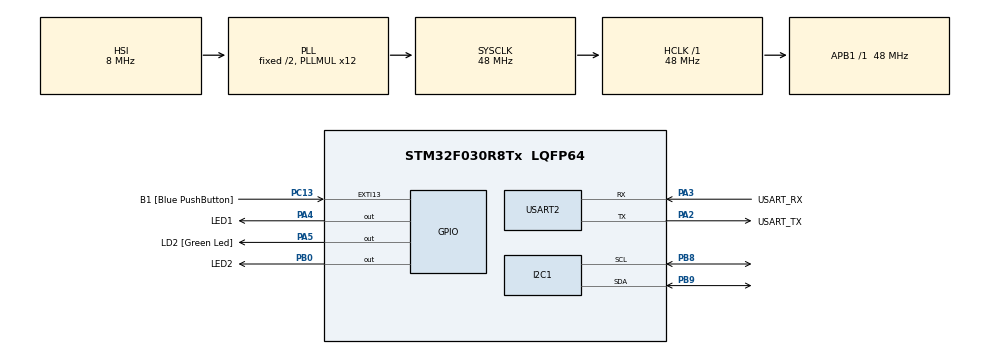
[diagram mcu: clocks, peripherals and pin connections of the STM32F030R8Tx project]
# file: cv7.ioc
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Dma.Request0=USART2_RX
Dma.USART2_RX.0.Direction=DMA_PERIPH_TO_MEMORY
Dma.USART2_RX.0.Instance=DMA1_Channel5
Dma.USART2_RX.0.MemDataAlignment=DMA_MDATAALIGN_BYTE
Dma.USART2_RX.0.MemInc=DMA_MINC_ENABLE
Dma.USART2_RX.0.Mode=DMA_CIRCULAR
Dma.USART2_RX.0.PeriphDataAlignment=DMA_PDATAALIGN_BYTE
Dma.USART2_RX.0.PeriphInc=DMA_PINC_DISABLE
Dma.USART2_RX.0.Priority=DMA_PRIORITY_LOW
FREERTOS.Queues01=xVisualQueue,16,int16_t,0,Dynamic,NULL,NULL
FREERTOS.Tasks01=defaultTask,0,128,StartDefaultTask,Default,NULL,Dynamic,NULL,NULL;VisualTask,0,128,StartVisualTask,Default,NULL,Dynamic,NULL,NULL;AcceleroTask,0,128,StartAcceleroTask,Default,NULL,Dynamic,NULL,NULL
FREERTOS.configUSE_NEWLIB_REENTRANT=1
Mcu.Family=STM32F0
Mcu.Name=STM32F030R8Tx
Mcu.Package=LQFP64
NVIC.DMA1_Channel4_5_IRQn=true\:3\:0\:false\:false\:true\:true\:false\:true\:true
NVIC.TIM14_IRQn=true\:3\:0\:false\:false\:true\:false\:false\:true\:true
NVIC.TimeBase=TIM14_IRQn
NVIC.TimeBaseIP=TIM14
PA13.GPIO_Label=TMS
PA13.Mode=Serial_Wire
PA13.Signal=SYS_SWDIO
PA14.GPIO_Label=TCK
PA14.Mode=Serial_Wire
PA14.Signal=SYS_SWCLK
PA2.GPIO_Label=USART_TX
PA2.GPIO_Mode=GPIO_MODE_AF_PP
PA2.GPIO_PuPd=GPIO_NOPULL
PA2.GPIO_Speed=GPIO_SPEED_FREQ_LOW
PA2.Mode=Asynchronous
PA2.Signal=USART2_TX
PA3.GPIO_Label=USART_RX
PA3.GPIO_Mode=GPIO_MODE_AF_PP
PA3.GPIO_PuPd=GPIO_NOPULL
PA3.GPIO_Speed=GPIO_SPEED_FREQ_LOW
PA3.Mode=Asynchronous
PA3.Signal=USART2_RX
PA4.GPIO_Label=LED1
PA4.Signal=GPIO_Output
PA5.GPIO_Label=LD2 [Green Led]
PA5.GPIO_Mode=GPIO_MODE_OUTPUT_PP
PA5.GPIO_PuPd=GPIO_NOPULL
PA5.GPIO_Speed=GPIO_SPEED_FREQ_LOW
PA5.Signal=GPIO_Output
PB0.GPIO_Label=LED2
PB0.Signal=GPIO_Output
PB8.Mode=I2C
PB8.Signal=I2C1_SCL
PB9.Mode=I2C
PB9.Signal=I2C1_SDA
PC13.GPIO_Label=B1 [Blue PushButton]
PC13.GPIO_ModeDefaultEXTI=GPIO_MODE_IT_FALLING
PC13.Signal=GPXTI13
PC14-OSC32_IN.Mode=LSE-External-Oscillator
PC14-OSC32_IN.Signal=RCC_OSC32_IN
PC15-OSC32_OUT.Mode=LSE-External-Oscillator
PC15-OSC32_OUT.Signal=RCC_OSC32_OUT
PF0-OSC_IN.Mode=HSE-External-Clock-Source
PF0-OSC_IN.Signal=RCC_OSC_IN
PF1-OSC_OUT.Signal=RCC_OSC_OUT
ProjectManager.HeapSize=0x200
ProjectManager.StackSize=0x400
ProjectManager.TargetToolchain=STM32CubeIDE
RCC.AHBFreq_Value=48000000
RCC.APB1Freq_Value=48000000
RCC.APB1TimFreq_Value=48000000
RCC.HCLKFreq_Value=48000000
RCC.PLLMUL=RCC_PLL_MUL12
RCC.SYSCLKFreq_VALUE=48000000
RCC.SYSCLKSource=RCC_SYSCLKSOURCE_PLLCLK
USART2.VirtualMode-Asynchronous=VM_ASYNC
VP_FREERTOS_VS_CMSIS_V1.Mode=CMSIS_V1
VP_SYS_VS_tim14.Mode=TIM14
board=NUCLEO-F030R8

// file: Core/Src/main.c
/* USER CODE BEGIN Header */
/**
  ******************************************************************************
  * @file           : main.c
  * @brief          : Main program body
  ******************************************************************************
  * @attention
  *
  * Copyright (c) 2023 STMicroelectronics.
  * All rights reserved.
  *
  * This software is licensed under terms that can be found in the LICENSE file
  * in the root directory of this software component.
  * If no LICENSE file comes with this software, it is provided AS-IS.
  *
  ******************************************************************************
  */
/* USER CODE END Header */
#include "main.h"
#include "cmsis_os.h"

/* USER CODE BEGIN Includes */
#include "lis2dw12_reg.h"
#include <stdio.h>
/* USER CODE END Includes */

I2C_HandleTypeDef hi2c1;

UART_HandleTypeDef huart2;
DMA_HandleTypeDef hdma_usart2_rx;

osThreadId defaultTaskHandle;
osThreadId VisualTaskHandle;
osThreadId AcceleroTaskHandle;
osMessageQId xVisualQueueHandle;

void SystemClock_Config(void);
static void MX_GPIO_Init(void);
static void MX_DMA_Init(void);
static void MX_USART2_UART_Init(void);
static void MX_I2C1_Init(void);
void StartDefaultTask(void const * argument);
void StartVisualTask(void const * argument);
void StartAcceleroTask(void const * argument);

/* USER CODE BEGIN 0 */
int _write(int file, char const *buf, int n) {
	/* stdout redirection to UART2 */
	HAL_UART_Transmit(&huart2, (uint8_t*) (buf), n, HAL_MAX_DELAY);
	return n;
}

/*
* Replace the functions "platform_write" and "platform_read" with your
* platform specific read and write function.
*/
static int32_t platform_write(void *handle, uint8_t reg, uint8_t *bufp,
		uint16_t len) {
	HAL_I2C_Mem_Write(handle, LIS2DW12_I2C_ADD_H, reg, I2C_MEMADD_SIZE_8BIT,
			bufp, len, 1000);
	return 0;
}

static int32_t platform_read(void *handle, uint8_t reg, uint8_t *bufp,
		uint16_t len) {
	HAL_I2C_Mem_Read(handle, LIS2DW12_I2C_ADD_H, reg, I2C_MEMADD_SIZE_8BIT,
			bufp, len, 1000);
	return 0;
}

static stmdev_ctx_t lis2dw12 = {
 .write_reg = platform_write,
 .read_reg = platform_read,
 .handle = &hi2c1,
};

/* USER CODE END 0 */

int main(void)
{

  /* MCU Configuration--------------------------------------------------------*/

  /* Reset of all peripherals, Initializes the Flash interface and the Systick. */
  HAL_Init();

  /* Configure the system clock */
  SystemClock_Config();

  /* Initialize all configured peripherals */
  MX_GPIO_Init();
  MX_DMA_Init();
  MX_USART2_UART_Init();
  MX_I2C1_Init();

  /* Create the queue(s) */
  /* definition and creation of xVisualQueue */
  osMessageQDef(xVisualQueue, 16, int16_t);
  xVisualQueueHandle = osMessageCreate(osMessageQ(xVisualQueue), NULL);

  /* Create the thread(s) */
  /* definition and creation of defaultTask */
  osThreadDef(defaultTask, StartDefaultTask, osPriorityNormal, 0, 128);
  defaultTaskHandle = osThreadCreate(osThread(defaultTask), NULL);

  /* definition and creation of VisualTask */
  osThreadDef(VisualTask, StartVisualTask, osPriorityNormal, 0, 128);
  VisualTaskHandle = osThreadCreate(osThread(VisualTask), NULL);

  /* definition and creation of AcceleroTask */
  osThreadDef(AcceleroTask, StartAcceleroTask, osPriorityNormal, 0, 128);
  AcceleroTaskHandle = osThreadCreate(osThread(AcceleroTask), NULL);

  /* Start scheduler */
  osKernelStart();

  /* We should never get here as control is now taken by the scheduler */
  /* Infinite loop */
  while (1)
  {

  }
}

void SystemClock_Config(void)
{
  RCC_OscInitTypeDef RCC_OscInitStruct = {0};
  RCC_ClkInitTypeDef RCC_ClkInitStruct = {0};
  RCC_PeriphCLKInitTypeDef PeriphClkInit = {0};

  /** Initializes the RCC Oscillators according to the specified parameters
  * in the RCC_OscInitTypeDef structure.
  */
  RCC_OscInitStruct.OscillatorType = RCC_OSCILLATORTYPE_HSI;
  RCC_OscInitStruct.HSIState = RCC_HSI_ON;
  RCC_OscInitStruct.HSICalibrationValue = RCC_HSICALIBRATION_DEFAULT;
  RCC_OscInitStruct.PLL.PLLState = RCC_PLL_ON;
  RCC_OscInitStruct.PLL.PLLSource = RCC_PLLSOURCE_HSI;
  RCC_OscInitStruct.PLL.PLLMUL = RCC_PLL_MUL12;
  RCC_OscInitStruct.PLL.PREDIV = RCC_PREDIV_DIV1;
  if (HAL_RCC_OscConfig(&RCC_OscInitStruct) != HAL_OK)
  {
    Error_Handler();
  }

  /** Initializes the CPU, AHB and APB buses clocks
  */
  RCC_ClkInitStruct.ClockType = RCC_CLOCKTYPE_HCLK|RCC_CLOCKTYPE_SYSCLK
                              |RCC_CLOCKTYPE_PCLK1;
  RCC_ClkInitStruct.SYSCLKSource = RCC_SYSCLKSOURCE_PLLCLK;
  RCC_ClkInitStruct.AHBCLKDivider = RCC_SYSCLK_DIV1;
  RCC_ClkInitStruct.APB1CLKDivider = RCC_HCLK_DIV1;

  if (HAL_RCC_ClockConfig(&RCC_ClkInitStruct, FLASH_LATENCY_1) != HAL_OK)
  {
    Error_Handler();
  }
  PeriphClkInit.PeriphClockSelection = RCC_PERIPHCLK_I2C1;
  PeriphClkInit.I2c1ClockSelection = RCC_I2C1CLKSOURCE_HSI;
  if (HAL_RCCEx_PeriphCLKConfig(&PeriphClkInit) != HAL_OK)
  {
    Error_Handler();
  }
}

static void MX_I2C1_Init(void)
{

  hi2c1.Instance = I2C1;
  hi2c1.Init.Timing = 0x2000090E;
  hi2c1.Init.OwnAddress1 = 0;
  hi2c1.Init.AddressingMode = I2C_ADDRESSINGMODE_7BIT;
  hi2c1.Init.DualAddressMode = I2C_DUALADDRESS_DISABLE;
  hi2c1.Init.OwnAddress2 = 0;
  hi2c1.Init.OwnAddress2Masks = I2C_OA2_NOMASK;
  hi2c1.Init.GeneralCallMode = I2C_GENERALCALL_DISABLE;
  hi2c1.Init.NoStretchMode = I2C_NOSTRETCH_DISABLE;
  if (HAL_I2C_Init(&hi2c1) != HAL_OK)
  {
    Error_Handler();
  }

  /** Configure Analogue filter
  */
  if (HAL_I2CEx_ConfigAnalogFilter(&hi2c1, I2C_ANALOGFILTER_ENABLE) != HAL_OK)
  {
    Error_Handler();
  }

  /** Configure Digital filter
  */
  if (HAL_I2CEx_ConfigDigitalFilter(&hi2c1, 0) != HAL_OK)
  {
    Error_Handler();
  }

}

static void MX_USART2_UART_Init(void)
{

  huart2.Instance = USART2;
  huart2.Init.BaudRate = 38400;
  huart2.Init.WordLength = UART_WORDLENGTH_8B;
  huart2.Init.StopBits = UART_STOPBITS_1;
  huart2.Init.Parity = UART_PARITY_NONE;
  huart2.Init.Mode = UART_MODE_TX_RX;
  huart2.Init.HwFlowCtl = UART_HWCONTROL_NONE;
  huart2.Init.OverSampling = UART_OVERSAMPLING_16;
  huart2.Init.OneBitSampling = UART_ONE_BIT_SAMPLE_DISABLE;
  huart2.AdvancedInit.AdvFeatureInit = UART_ADVFEATURE_NO_INIT;
  if (HAL_UART_Init(&huart2) != HAL_OK)
  {
    Error_Handler();
  }

}

static void MX_DMA_Init(void)
{

  /* DMA controller clock enable */
  __HAL_RCC_DMA1_CLK_ENABLE();

  /* DMA interrupt init */
  /* DMA1_Channel4_5_IRQn interrupt configuration */
  HAL_NVIC_SetPriority(DMA1_Channel4_5_IRQn, 3, 0);
  HAL_NVIC_EnableIRQ(DMA1_Channel4_5_IRQn);

}

static void MX_GPIO_Init(void)
{
  GPIO_InitTypeDef GPIO_InitStruct = {0};

  /* GPIO Ports Clock Enable */
  __HAL_RCC_GPIOC_CLK_ENABLE();
  __HAL_RCC_GPIOF_CLK_ENABLE();
  __HAL_RCC_GPIOA_CLK_ENABLE();
  __HAL_RCC_GPIOB_CLK_ENABLE();

  /*Configure GPIO pin Output Level */
  HAL_GPIO_WritePin(GPIOA, LED1_Pin|LD2_Pin, GPIO_PIN_RESET);

  /*Configure GPIO pin Output Level */
  HAL_GPIO_WritePin(LED2_GPIO_Port, LED2_Pin, GPIO_PIN_RESET);

  /*Configure GPIO pin : B1_Pin */
  GPIO_InitStruct.Pin = B1_Pin;
  GPIO_InitStruct.Mode = GPIO_MODE_IT_FALLING;
  GPIO_InitStruct.Pull = GPIO_NOPULL;
  HAL_GPIO_Init(B1_GPIO_Port, &GPIO_InitStruct);

  /*Configure GPIO pins : LED1_Pin LD2_Pin */
  GPIO_InitStruct.Pin = LED1_Pin|LD2_Pin;
  GPIO_InitStruct.Mode = GPIO_MODE_OUTPUT_PP;
  GPIO_InitStruct.Pull = GPIO_NOPULL;
  GPIO_InitStruct.Speed = GPIO_SPEED_FREQ_LOW;
  HAL_GPIO_Init(GPIOA, &GPIO_InitStruct);

  /*Configure GPIO pin : LED2_Pin */
  GPIO_InitStruct.Pin = LED2_Pin;
  GPIO_InitStruct.Mode = GPIO_MODE_OUTPUT_PP;
  GPIO_InitStruct.Pull = GPIO_NOPULL;
  GPIO_InitStruct.Speed = GPIO_SPEED_FREQ_LOW;
  HAL_GPIO_Init(LED2_GPIO_Port, &GPIO_InitStruct);

}

void StartDefaultTask(void const * argument)
{
  for(;;)
  {
    osDelay(1);
  }
}

void StartVisualTask(void const * argument)
{
  /* USER CODE BEGIN StartVisualTask */
  /* Infinite loop */
  for(;;)
  {
		int16_t msg;

		if (xQueueReceive(xVisualQueueHandle, &msg, portMAX_DELAY)) {
			if (msg < -1000) {
				HAL_GPIO_WritePin(LED1_GPIO_Port, LED1_Pin, 1);
				HAL_GPIO_WritePin(LED2_GPIO_Port, LED2_Pin, 0);
			} else if (msg > 1000) {
				HAL_GPIO_WritePin(LED1_GPIO_Port, LED1_Pin, 0);
				HAL_GPIO_WritePin(LED2_GPIO_Port, LED2_Pin, 1);
			} else {
				HAL_GPIO_WritePin(LED1_GPIO_Port, LED1_Pin, 0);
				HAL_GPIO_WritePin(LED2_GPIO_Port, LED2_Pin, 0);
			}

		}

		osDelay(1);
  }
  /* USER CODE END StartVisualTask */
}

void StartAcceleroTask(void const * argument)
{
	/* USER CODE BEGIN StartAcceleroTask */
	// Check device ID
	uint8_t whoamI = 0;
	lis2dw12_device_id_get(&lis2dw12, &whoamI);
	printf("LIS2DW12_ID %s\n", (whoamI == LIS2DW12_ID) ? "OK" : "FAIL");

	lis2dw12_full_scale_set(&lis2dw12, LIS2DW12_2g);
	lis2dw12_power_mode_set(&lis2dw12, LIS2DW12_CONT_LOW_PWR_LOW_NOISE_2);
	lis2dw12_block_data_update_set(&lis2dw12, PROPERTY_ENABLE);
	lis2dw12_fifo_mode_set(&lis2dw12, LIS2DW12_STREAM_MODE); // enable continuous FIFO
	lis2dw12_data_rate_set(&lis2dw12, LIS2DW12_XL_ODR_25Hz); // enable part from power-down
	/* Infinite loop */
	for(;;)
	{
		uint8_t samples;
		int16_t raw_acceleration[3];

		lis2dw12_fifo_data_level_get(&lis2dw12, &samples);

		for (uint8_t i = 0; i < samples; i++) {
			// Read acceleration data
			lis2dw12_acceleration_raw_get(&lis2dw12, raw_acceleration);
		}

		printf("X=%d Y=%d Z=%d\n", raw_acceleration[0], raw_acceleration[1], raw_acceleration[2]);

		xQueueSend(xVisualQueueHandle, &raw_acceleration[0], 0);
		osDelay(100);

		/*
	msg = -5000;
	xQueueSend(xVisualQueueHandle, &msg, 0);
	osDelay(300);

	msg = 0;
	xQueueSend(xVisualQueueHandle, &msg, 0);
	osDelay(300);

	msg = 5000;
	xQueueSend(xVisualQueueHandle, &msg, 0);
	osDelay(300);

	msg = 0;
	xQueueSend(xVisualQueueHandle, &msg, 0);
	osDelay(300);
		 */

	}
  /* USER CODE END StartAcceleroTask */
}

void HAL_TIM_PeriodElapsedCallback(TIM_HandleTypeDef *htim)
{
  if (htim->Instance == TIM14) {
    HAL_IncTick();
  }
}

void Error_Handler(void)
{
  __disable_irq();
  while (1)
  {
  }
}
